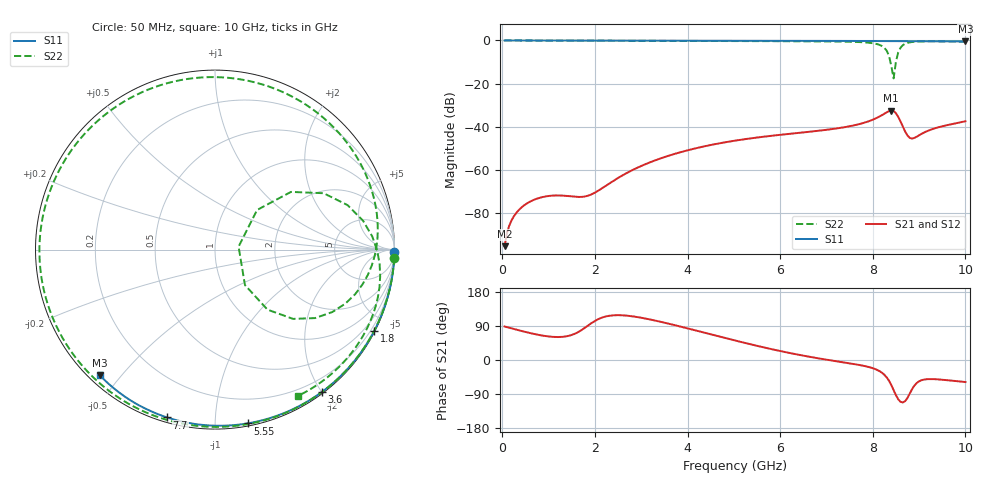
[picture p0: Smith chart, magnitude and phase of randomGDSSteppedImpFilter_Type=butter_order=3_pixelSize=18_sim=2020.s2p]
! freq	dB(S11)	phase(S11)	dB(S12)	phase(S12)
!  dB(S21)	phase(S21)	dB(S22)	phase(S22)
!S-par simulation data
#  GHz  S  DB  R 50
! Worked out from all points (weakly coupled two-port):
!   200 points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, 50 MHz to 10 GHz, reference 50 ohm
!   highest |S21| = -32.41 dB at 8.4 GHz (marker M1); lowest = -95.1 dB at 50 MHz (marker M2)
!   lowest |S11| = -0.4 dB at 10 GHz (marker M3), VSWR 38.94, Z = 1.53 - j22 ohm
!   |S11| at or under -10 dB: nowhere
!   |S22| runs from -17.6 to 0.0 dB; largest |S21 - S12| = 0
!   S11 on the Smith chart (normalised r, x): 50 MHz: open; 1.8 GHz: 0.04, -4.13; 3.6 GHz: 0.02, -2.00; 5.55 GHz: 0.02, -1.21; 7.7 GHz: 0.02, -0.75; 10 GHz: 0.03, -0.44
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0.05  -0.00 -0.8  -95.14 88.4  -95.14 88.4  -0.00 -2.6
0.3  -0.01 -4.6  -79.82 80.2  -79.82 80.2  -0.02 -15.7
0.95  -0.02 -14.5  -72.08 62.9  -72.08 62.9  -0.06 -48.9
1.75  -0.03 -26.5  -72.27 82.2  -72.27 82.2  -0.10 -87.3
1.8  -0.03 -27.2  -72.08 86.5  -72.08 86.5  -0.10 -89.6
2.5  -0.05 -37.5  -63.58 118.3  -63.58 118.3  -0.14 -120.6
3.4  -0.07 -50.4  -54.68 101.4  -54.68 101.4  -0.17 -158.1
3.6  -0.07 -53.2  -53.26 95.6  -53.26 95.6  -0.18 -166.2
4.3  -0.09 -62.8  -49.26 74.1  -49.26 74.1  -0.21 165.3
5.05  -0.11 -72.9  -46.25 50.7  -46.25 50.7  -0.26 134.1
5.55  -0.13 -79.4  -44.76 36.0  -44.76 36.0  -0.30 112.5
6.7  -0.18 -93.8  -42.07 7.1  -42.07 7.1  -0.41 60.0
7.7  -0.24 -105.9  -38.74 -12.9  -38.74 -12.9  -0.73 9.8
8.1  -0.27 -110.6  -35.68 -26.5  -35.68 -26.5  -1.73 -17.6
8.35  -0.29 -113.5  -32.69 -54.6  -32.69 -54.6  -7.04 -48.8
8.4  -0.29 -114.1  -32.41 -66.0  -32.41 -66.0  -11.75 -49.8
8.45  -0.30 -114.7  -32.66 -79.3  -32.66 -79.3  -17.57 7.2
8.55  -0.30 -115.9  -35.36 -103.8  -35.36 -103.8  -5.49 37.2
8.7  -0.32 -117.6  -42.14 -108.4  -42.14 -108.4  -1.51 11.0
8.85  -0.33 -119.3  -45.37 -76.7  -45.37 -76.7  -0.71 -5.1
9.35  -0.38 -125.1  -40.58 -50.7  -40.58 -50.7  -0.41 -34.9
10  -0.45 -132.5  -37.37 -58.1  -37.37 -58.1  -0.56 -60.3
